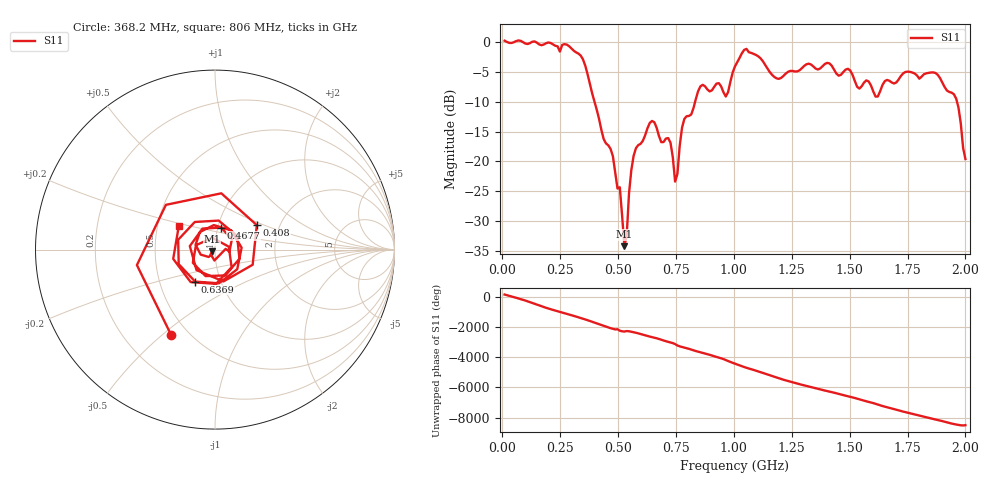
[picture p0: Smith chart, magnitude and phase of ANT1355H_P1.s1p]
!Created with skrf (http://scikit-rf.org).
# Hz S RI R 50.0
!freq ReS11 ImS11
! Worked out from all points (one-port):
!   201 points, 10 MHz to 2 GHz, reference 50 ohm
!   lowest |S11| = -34.1 dB at 527.4 MHz (marker M1), VSWR 1.04, Z = 48.4 - j1.02 ohm
!   |S11| at or under -10 dB: 397.9 MHz to 833 MHz (435.1 MHz wide, 70.7 % of centre); 1.963 GHz to end of sweep
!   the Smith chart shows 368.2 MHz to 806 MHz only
!   S11 on the Smith chart (normalised r, x): 368.2 MHz: 0.40, -0.54; 408 MHz: 1.53, +0.45; 467.7 MHz: 1.04, +0.26; 636.9 MHz: 0.76, -0.28; 806 MHz: 0.64, +0.18
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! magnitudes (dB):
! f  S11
! 10 MHz  0.2
! 258.8 MHz  -0.5
! 368.2 MHz  -5.4
! 408 MHz  -11.4
! 467.7 MHz  -17.9
! 507.5 MHz  -24.3
! 527.4 MHz  -34.1
! 537.4 MHz  -32.3
! 567.2 MHz  -19.1
! 636.9 MHz  -13.6
! 716.5 MHz  -16.1
! 746.3 MHz  -23.4
! 756.2 MHz  -22.1
! 776.1 MHz  -14.4
! 806 MHz  -12.4
! 865.7 MHz  -7.2
! 965.2 MHz  -9.2
! 1.005 GHz  -4.1
! 1.055 GHz  -1.2
! 1.184 GHz  -6.1
! 1.254 GHz  -4.9
! 1.502 GHz  -4.8
! 1.612 GHz  -9.2
! 1.751 GHz  -5.0
! 1.871 GHz  -5.2
! 1.95 GHz  -8.8
! 1.97 GHz  -11.0
! 2 GHz  -19.6
